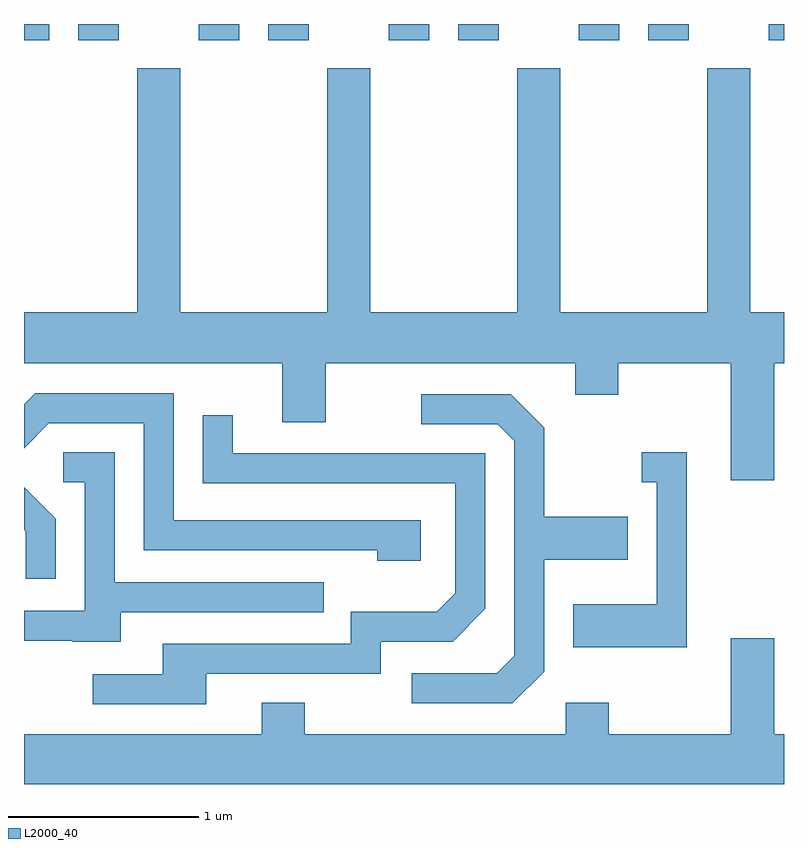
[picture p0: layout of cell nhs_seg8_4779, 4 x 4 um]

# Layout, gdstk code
import gdstk
lib = gdstk.Library(unit=1e-6, precision=1e-09)
def R(c, l, rs):  # rectangles x0, y0, x1, y1
    for r in rs: c.add(gdstk.rectangle(r[:2], r[2:], *l))
def P(c, l, *ps):  # polygons
    for p in ps: c.add(gdstk.Polygon(p, *l))
L2000_40 = (2000, 40)

nhs_seg8_4779 = lib.new_cell('nhs_seg8_4779')
R(nhs_seg8_4779, L2000_40, [(327.611,1920.256,327.744,1920.342), (327.896,1920.256,328.109,1920.342), (328.531,1920.256,328.744,1920.342), (328.896,1920.256,329.109,1920.342), (329.531,1920.256,329.744,1920.342), (329.896,1920.256,330.109,1920.342), (330.531,1920.256,330.744,1920.342), (330.896,1920.256,331.109,1920.342), (331.531,1920.256,331.611,1920.342)])
P(nhs_seg8_4779, L2000_40, [(330.434,1920.109),(330.206,1920.109),(330.206,1918.824),(329.434,1918.824),(329.434,1920.109),(329.206,1920.109),(329.206,1918.824),(328.434,1918.824),(328.434,1920.109),(328.206,1920.109),(328.206,1918.824),(327.611,1918.824),(327.611,1918.556),(328.971,1918.556),(328.971,1918.246),(329.199,1918.246),(329.199,1918.556),(330.511,1918.556),(330.511,1918.391),(330.739,1918.391),(330.739,1918.556),(331.331,1918.556),(331.331,1917.941),(331.559,1917.941),(331.559,1918.556),(331.611,1918.556),(331.611,1918.824),(331.434,1918.824),(331.434,1920.109),(331.206,1920.109),(331.206,1918.824),(330.434,1918.824)],
  [(329.699,1917.729),(328.399,1917.729),(328.399,1918.399),(327.669,1918.399),(327.611,1918.341),(327.611,1918.11),(327.742,1918.241),(328.241,1918.241),(328.241,1917.571),(329.471,1917.571),(329.471,1917.516),(329.699,1917.516)],
  [(330.349,1916.934),(330.349,1917.521),(330.789,1917.521),(330.789,1917.749),(330.349,1917.749),(330.349,1918.217),(330.172,1918.394),(329.703,1918.394),(329.703,1918.236),(330.104,1918.236),(330.191,1918.149),(330.191,1917.017),(330.099,1916.924),(329.653,1916.924),(329.653,1916.766),(330.182,1916.766)],
  [(328.569,1916.921),(329.489,1916.921),(329.489,1917.091),(329.867,1917.091),(330.039,1917.264),(330.039,1918.084),(328.709,1918.084),(328.709,1918.283),(328.551,1918.283),(328.551,1917.926),(329.881,1917.926),(329.881,1917.347),(329.784,1917.249),(329.331,1917.249),(329.331,1917.079),(328.341,1917.079),(328.341,1916.919),(327.973,1916.919),(327.973,1916.761),(328.569,1916.761)],
  [(328.119,1917.246),(329.188,1917.246),(329.188,1917.404),(328.089,1917.404),(328.089,1918.089),(327.818,1918.089),(327.818,1917.931),(327.931,1917.931),(327.931,1917.254),(327.611,1917.254),(327.611,1917.096),(327.865,1917.096),(327.865,1917.091),(328.119,1917.091)],
  [(331.099,1918.089),(330.863,1918.089),(330.863,1917.931),(330.941,1917.931),(330.941,1917.289),(330.501,1917.289),(330.501,1917.061),(331.099,1917.061)],
  [(327.779,1917.737),(327.611,1917.905),(327.611,1917.679),(327.621,1917.669),(327.621,1917.423),(327.779,1917.423)],
  [(331.611,1916.604),(331.559,1916.604),(331.559,1917.109),(331.331,1917.109),(331.331,1916.604),(330.689,1916.604),(330.689,1916.769),(330.461,1916.769),(330.461,1916.604),(329.089,1916.604),(329.089,1916.769),(328.861,1916.769),(328.861,1916.604),(327.611,1916.604),(327.611,1916.342),(331.611,1916.342)])

lib.write_gds('nhs_seg8_4779.gds')
